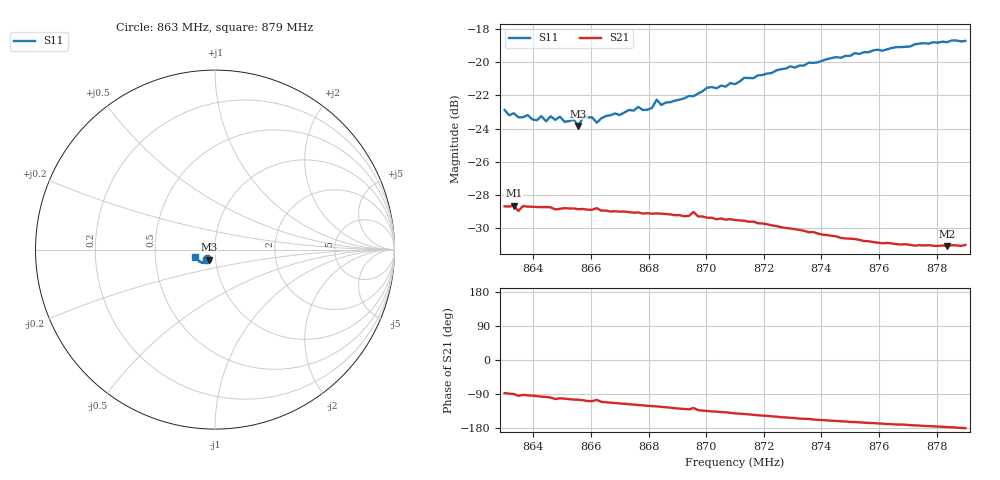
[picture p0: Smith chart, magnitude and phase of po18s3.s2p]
# HZ S RI R 50
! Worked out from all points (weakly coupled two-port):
!   101 points, 863 MHz to 879 MHz, reference 50 ohm
!   highest |S21| = -28.66 dB at 863.32 MHz (marker M1); lowest = -31.1 dB at 878.36 MHz (marker M2)
!   lowest |S11| = -23.8 dB at 865.56 MHz (marker M3), VSWR 1.14, Z = 46.5 - j5.17 ohm
!   |S11| at or under -10 dB: start of sweep to end of sweep
!   S12 and S22 are empty: the file has one direction only
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8.63e8  -0.0462 -0.0549  0.00172 -0.0367  0 0  0 0
8.6332e8  -0.0443 -0.0545  0.000193 -0.0369  0 0  0 0
8.6348e8  -0.0426 -0.0533  -0.00283 -0.0354  0 0  0 0
8.6364e8  -0.043 -0.053  -0.00138 -0.0368  0 0  0 0
8.6428e8  -0.0403 -0.0557  -0.00425 -0.0363  0 0  0 0
8.6444e8  -0.0387 -0.0538  -0.00486 -0.0362  0 0  0 0
8.6492e8  -0.0391 -0.0563  -0.0069 -0.0354  0 0  0 0
8.6556e8  -0.0328 -0.0553  -0.00918 -0.0348  0 0  0 0
8.6572e8  -0.0364 -0.0576  -0.01 -0.0346  0 0  0 0
8.662e8  -0.0307 -0.0581  -0.00954 -0.035  0 0  0 0
8.6764e8  -0.0372 -0.0632  -0.0171 -0.0308  0 0  0 0
8.6796e8  -0.0353 -0.0627  -0.018 -0.03  0 0  0 0
8.6828e8  -0.0392 -0.0664  -0.0187 -0.0295  0 0  0 0
8.6844e8  -0.0366 -0.0647  -0.0193 -0.029  0 0  0 0
8.6956e8  -0.0349 -0.0709  -0.021 -0.0284  0 0  0 0
8.7004e8  -0.0439 -0.0715  -0.0238 -0.0242  0 0  0 0
8.71e8  -0.0473 -0.0717  -0.0259 -0.021  0 0  0 0
8.7132e8  -0.0508 -0.0741  -0.0264 -0.0202  0 0  0 0
8.7372e8  -0.0668 -0.0739  -0.0282 -0.012  0 0  0 0
8.7644e8  -0.092 -0.0612  -0.0279 -0.00521  0 0  0 0
8.7836e8  -0.1059 -0.0451  -0.0278 -0.00146  0 0  0 0
8.79e8  -0.1095 -0.0388  -0.0281 -8.1e-05  0 0  0 0
